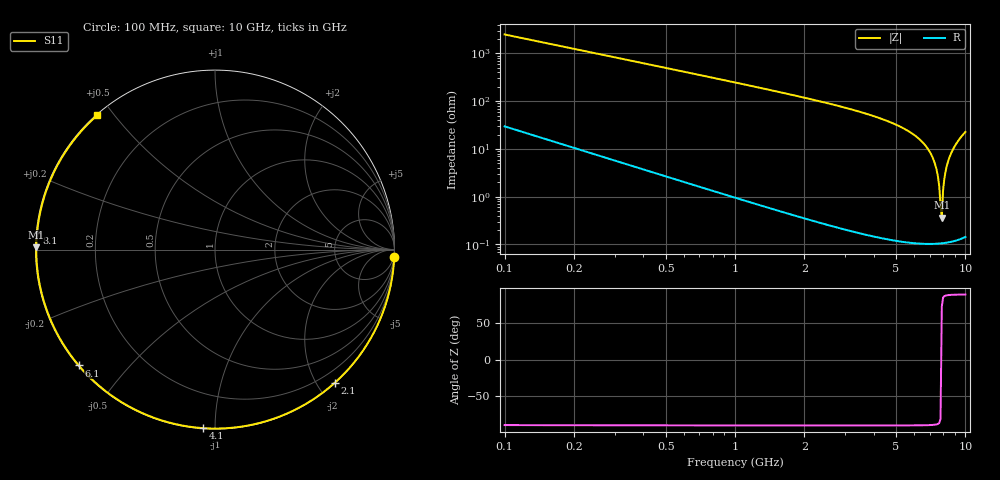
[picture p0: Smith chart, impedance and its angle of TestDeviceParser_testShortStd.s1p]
# MHz MA S R 50.0
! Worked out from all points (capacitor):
!   100 points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, 100 MHz to 10 GHz, reference 50 ohm
!   read as one part to ground: C = 636 fF near 100 MHz
!   lowest |Z| = 362 mohm at 7.9 GHz (marker M1)
!   series resonance near 7.865 GHz, so ESL is about 640 pH
!   S11 on the Smith chart (normalised r, x): 100 MHz: 1, -50; 2.1 GHz: 0.01, -2.24; 4.1 GHz: 0.00, -0.94; 6.1 GHz: 0.00, -0.37; 8.1 GHz: 0.00, +0.05; 10 GHz: 0.00, +0.45
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100  0.9995 -2.3
400  0.9991 -9.2
700  0.9987 -16.0
1000  0.9985 -22.9
1400  0.9982 -32.0
1700  0.998 -38.9
2100  0.9978 -48.1
2600  0.9976 -59.5
3000  0.9974 -68.7
3300  0.9973 -75.5
3600  0.9972 -82.4
3900  0.997 -89.3
4100  0.997 -93.8
4600  0.9968 -105.3
5100  0.9966 -116.7
5600  0.9965 -128.2
6100  0.9963 -139.6
6300  0.9962 -144.2
6700  0.9961 -153.3
7000  0.996 -160.2
7300  0.996 -167.1
7600  0.9959 -173.9
7900  0.9958 179.2
8100  0.9957 174.6
8400  0.9957 167.8
8800  0.9956 158.6
9400  0.9954 144.9
10000  0.9953 131.1
